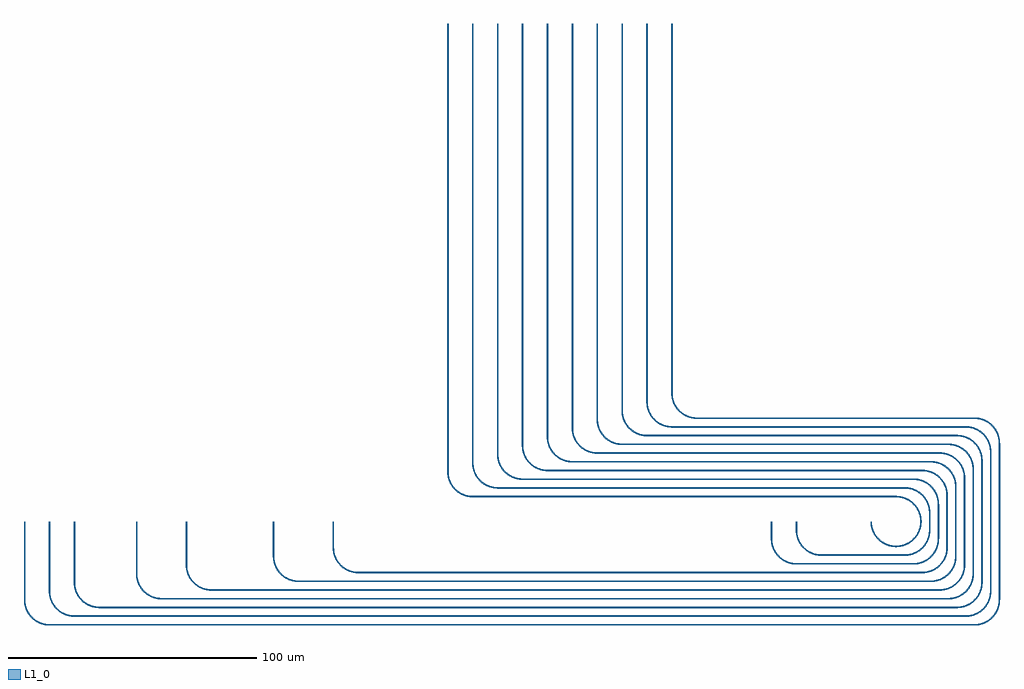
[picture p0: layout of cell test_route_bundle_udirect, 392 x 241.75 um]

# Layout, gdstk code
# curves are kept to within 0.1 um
from math import pi, radians
import gdstk
lib = gdstk.Library(unit=1e-6, precision=1e-09)
def R(c, l, rs):  # rectangles x0, y0, x1, y1
    for r in rs: c.add(gdstk.rectangle(r[:2], r[2:], *l))
def P(c, l, *ps):  # polygons
    for p in ps: c.add(gdstk.Polygon(p, *l))
L1_0 = (1, 0)

bend_circular_gdsfactory = lib.new_cell('bend_circular_gdsfactorypcomponentspbendspbend_circular_7d8e4b82')
P(bend_circular_gdsfactory, L1_0, [(0,-0.25),(0,0.25),(1.003,0.302),(1.994,0.456),(3.203,0.791),(4.133,1.169),(5.649,2.053),(6.805,3.018),(7.947,4.351),(8.721,5.641),(9.209,6.797),(9.489,7.761),(9.669,8.748),(9.75,10),(10.25,10),(10.084,8.162),(9.842,7.135),(9.495,6.139),(8.649,4.499),(8.037,3.639),(7.341,2.846),(6.566,2.129),(5.722,1.496),(4.817,0.953),(3.861,0.505),(2.865,0.158),(1.838,-0.084)])

straight_gdsfactorypcomp = lib.new_cell('straight_gdsfactorypcomponentspwaveguidespstraight_L31p_7eb9f5c9')
R(straight_gdsfactorypcomp, L1_0, [(0,-0.25,31.5,0.25)])

c_straight_gdsfactorypcomp = lib.new_cell('straight_gdsfactorypcomponentspwaveguidespstraight_L371_11458c25')
R(c_straight_gdsfactorypcomp, L1_0, [(0,-0.25,371.5,0.25)])

c_straight_gdsfactorypcomp_ = lib.new_cell('straight_gdsfactorypcomponentspwaveguidespstraight_L63__6365567f')
R(c_straight_gdsfactorypcomp_, L1_0, [(0,-0.25,63,0.25)])

c_straight_gdsfactorypcomp__ = lib.new_cell('straight_gdsfactorypcomponentspwaveguidespstraight_L111_3b387314')
R(c_straight_gdsfactorypcomp__, L1_0, [(0,-0.25,111.5,0.25)])

c_straight_gdsfactorypcomp___ = lib.new_cell('straight_gdsfactorypcomponentspwaveguidespstraight_L148_91b7ad53')
R(c_straight_gdsfactorypcomp___, L1_0, [(0,-0.25,148.5,0.25)])

c_straight_gdsfactorypcomp____ = lib.new_cell('straight_gdsfactorypcomponentspwaveguidespstraight_L28__47183211')
R(c_straight_gdsfactorypcomp____, L1_0, [(0,-0.25,28,0.25)])

c_straight_gdsfactorypcomp_____ = lib.new_cell('straight_gdsfactorypcomponentspwaveguidespstraight_L358_34f19a6a')
R(c_straight_gdsfactorypcomp_____, L1_0, [(0,-0.25,358,0.25)])

c_straight_gdsfactorypcomp______ = lib.new_cell('straight_gdsfactorypcomponentspwaveguidespstraight_L56__76370473')
R(c_straight_gdsfactorypcomp______, L1_0, [(0,-0.25,56,0.25)])

c_straight_gdsfactorypcomp_______ = lib.new_cell('straight_gdsfactorypcomponentspwaveguidespstraight_L118_f2d9635b')
R(c_straight_gdsfactorypcomp_______, L1_0, [(0,-0.25,118,0.25)])

c_straight_gdsfactorypcomp________ = lib.new_cell('straight_gdsfactorypcomponentspwaveguidespstraight_L152_2ea78617')
R(c_straight_gdsfactorypcomp________, L1_0, [(0,-0.25,152,0.25)])

c_straight_gdsfactorypcomp_________ = lib.new_cell('straight_gdsfactorypcomponentspwaveguidespstraight_L24p_44997bdd')
R(c_straight_gdsfactorypcomp_________, L1_0, [(0,-0.25,24.5,0.25)])

c_straight_gdsfactorypcomp__________ = lib.new_cell('straight_gdsfactorypcomponentspwaveguidespstraight_L344_8afcfdbf')
R(c_straight_gdsfactorypcomp__________, L1_0, [(0,-0.25,344.5,0.25)])

c_straight_gdsfactorypcomp___________ = lib.new_cell('straight_gdsfactorypcomponentspwaveguidespstraight_L49__6f62a743')
R(c_straight_gdsfactorypcomp___________, L1_0, [(0,-0.25,49,0.25)])

c_straight_gdsfactorypcomp____________ = lib.new_cell('straight_gdsfactorypcomponentspwaveguidespstraight_L124_7dbc801e')
R(c_straight_gdsfactorypcomp____________, L1_0, [(0,-0.25,124.5,0.25)])

c_straight_gdsfactorypcomp_____________ = lib.new_cell('straight_gdsfactorypcomponentspwaveguidespstraight_L155_4396909f')
R(c_straight_gdsfactorypcomp_____________, L1_0, [(0,-0.25,155.5,0.25)])

c_straight_gdsfactorypcomp______________ = lib.new_cell('straight_gdsfactorypcomponentspwaveguidespstraight_L21__2dab6504')
R(c_straight_gdsfactorypcomp______________, L1_0, [(0,-0.25,21,0.25)])

c_straight_gdsfactorypcomp_______________ = lib.new_cell('straight_gdsfactorypcomponentspwaveguidespstraight_L316_9a323de0')
R(c_straight_gdsfactorypcomp_______________, L1_0, [(0,-0.25,316,0.25)])

c_straight_gdsfactorypcomp________________ = lib.new_cell('straight_gdsfactorypcomponentspwaveguidespstraight_L42__fdc18541')
R(c_straight_gdsfactorypcomp________________, L1_0, [(0,-0.25,42,0.25)])

c_straight_gdsfactorypcomp_________________ = lib.new_cell('straight_gdsfactorypcomponentspwaveguidespstraight_L131_091afc83')
R(c_straight_gdsfactorypcomp_________________, L1_0, [(0,-0.25,131,0.25)])

c_straight_gdsfactorypcomp__________________ = lib.new_cell('straight_gdsfactorypcomponentspwaveguidespstraight_L159_61174194')
R(c_straight_gdsfactorypcomp__________________, L1_0, [(0,-0.25,159,0.25)])

c_straight_gdsfactorypcomp___________________ = lib.new_cell('straight_gdsfactorypcomponentspwaveguidespstraight_L17p_81c3d6df')
R(c_straight_gdsfactorypcomp___________________, L1_0, [(0,-0.25,17.5,0.25)])

c_straight_gdsfactorypcomp____________________ = lib.new_cell('straight_gdsfactorypcomponentspwaveguidespstraight_L292_9e9231ff')
R(c_straight_gdsfactorypcomp____________________, L1_0, [(0,-0.25,292.5,0.25)])

c_straight_gdsfactorypcomp_____________________ = lib.new_cell('straight_gdsfactorypcomponentspwaveguidespstraight_L35__eb80218d')
R(c_straight_gdsfactorypcomp_____________________, L1_0, [(0,-0.25,35,0.25)])

c_straight_gdsfactorypcomp______________________ = lib.new_cell('straight_gdsfactorypcomponentspwaveguidespstraight_L137_6ccb56a8')
R(c_straight_gdsfactorypcomp______________________, L1_0, [(0,-0.25,137.5,0.25)])

c_straight_gdsfactorypcomp_______________________ = lib.new_cell('straight_gdsfactorypcomponentspwaveguidespstraight_L162_b94ac948')
R(c_straight_gdsfactorypcomp_______________________, L1_0, [(0,-0.25,162.5,0.25)])

c_straight_gdsfactorypcomp________________________ = lib.new_cell('straight_gdsfactorypcomponentspwaveguidespstraight_L14__adde60b4')
R(c_straight_gdsfactorypcomp________________________, L1_0, [(0,-0.25,14,0.25)])

c_straight_gdsfactorypcomp_________________________ = lib.new_cell('straight_gdsfactorypcomponentspwaveguidespstraight_L254_794718a5')
R(c_straight_gdsfactorypcomp_________________________, L1_0, [(0,-0.25,254,0.25)])

c_straight_gdsfactorypcomp__________________________ = lib.new_cell('straight_gdsfactorypcomponentspwaveguidespstraight_L144_1de36d50')
R(c_straight_gdsfactorypcomp__________________________, L1_0, [(0,-0.25,144,0.25)])

c_straight_gdsfactorypcomp___________________________ = lib.new_cell('straight_gdsfactorypcomponentspwaveguidespstraight_L166_650f13cf')
R(c_straight_gdsfactorypcomp___________________________, L1_0, [(0,-0.25,166,0.25)])

c_straight_gdsfactorypcomp____________________________ = lib.new_cell('straight_gdsfactorypcomponentspwaveguidespstraight_L10p_da623fc9')
R(c_straight_gdsfactorypcomp____________________________, L1_0, [(0,-0.25,10.5,0.25)])

c_straight_gdsfactorypcomp_____________________________ = lib.new_cell('straight_gdsfactorypcomponentspwaveguidespstraight_L226_b00279ee')
R(c_straight_gdsfactorypcomp_____________________________, L1_0, [(0,-0.25,226.5,0.25)])

c_straight_gdsfactorypcomp______________________________ = lib.new_cell('straight_gdsfactorypcomponentspwaveguidespstraight_L150_b94bdf38')
R(c_straight_gdsfactorypcomp______________________________, L1_0, [(0,-0.25,150.5,0.25)])

c_straight_gdsfactorypcomp_______________________________ = lib.new_cell('straight_gdsfactorypcomponentspwaveguidespstraight_L169_df9dbdb6')
R(c_straight_gdsfactorypcomp_______________________________, L1_0, [(0,-0.25,169.5,0.25)])

c_straight_gdsfactorypcomp________________________________ = lib.new_cell('straight_gdsfactorypcomponentspwaveguidespstraight_L7_N_5487c68f')
R(c_straight_gdsfactorypcomp________________________________, L1_0, [(0,-0.25,7,0.25)])

c_straight_gdsfactorypcomp_________________________________ = lib.new_cell('straight_gdsfactorypcomponentspwaveguidespstraight_L47__a93c85d6')
R(c_straight_gdsfactorypcomp_________________________________, L1_0, [(0,-0.25,47,0.25)])

c_straight_gdsfactorypcomp__________________________________ = lib.new_cell('straight_gdsfactorypcomponentspwaveguidespstraight_L157_9ea8f998')
R(c_straight_gdsfactorypcomp__________________________________, L1_0, [(0,-0.25,157,0.25)])

c_straight_gdsfactorypcomp___________________________________ = lib.new_cell('straight_gdsfactorypcomponentspwaveguidespstraight_L173_1823e412')
R(c_straight_gdsfactorypcomp___________________________________, L1_0, [(0,-0.25,173,0.25)])

c_straight_gdsfactorypcomp____________________________________ = lib.new_cell('straight_gdsfactorypcomponentspwaveguidespstraight_L3p5_233edd08')
R(c_straight_gdsfactorypcomp____________________________________, L1_0, [(0,-0.25,3.5,0.25)])

c_straight_gdsfactorypcomp_____________________________________ = lib.new_cell('straight_gdsfactorypcomponentspwaveguidespstraight_L33p_f3b002be')
R(c_straight_gdsfactorypcomp_____________________________________, L1_0, [(0,-0.25,33.5,0.25)])

c_straight_gdsfactorypcomp______________________________________ = lib.new_cell('straight_gdsfactorypcomponentspwaveguidespstraight_L163_3778dfbd')
R(c_straight_gdsfactorypcomp______________________________________, L1_0, [(0,-0.25,163.5,0.25)])

c_straight_gdsfactorypcomp_______________________________________ = lib.new_cell('straight_gdsfactorypcomponentspwaveguidespstraight_L176_40205d92')
R(c_straight_gdsfactorypcomp_______________________________________, L1_0, [(0,-0.25,176.5,0.25)])

c_straight_gdsfactorypcomp________________________________________ = lib.new_cell('straight_gdsfactorypcomponentspwaveguidespstraight_L170_e15ef038')
R(c_straight_gdsfactorypcomp________________________________________, L1_0, [(0,-0.25,170,0.25)])

c_straight_gdsfactorypcomp_________________________________________ = lib.new_cell('straight_gdsfactorypcomponentspwaveguidespstraight_L180_0905583d')
R(c_straight_gdsfactorypcomp_________________________________________, L1_0, [(0,-0.25,180,0.25)])

test_route_bundle_udirec = lib.new_cell('test_route_bundle_udirect')
test_route_bundle_udirec.add(gdstk.Reference(bend_circular_gdsfactory, (-90,-41.5), rotation=pi, x_reflection=True))
test_route_bundle_udirec.add(gdstk.Reference(straight_gdsfactorypcomp, (-100,0), rotation=3*pi/2))
test_route_bundle_udirec.add(gdstk.Reference(bend_circular_gdsfactory, (291.5,-31.5), rotation=3*pi/2, x_reflection=True))
test_route_bundle_udirec.add(gdstk.Reference(c_straight_gdsfactorypcomp, (-90,-41.5)))
test_route_bundle_udirec.add(gdstk.Reference(bend_circular_gdsfactory, (281.5,41.5), x_reflection=True))
test_route_bundle_udirec.add(gdstk.Reference(c_straight_gdsfactorypcomp_, (291.5,-31.5), rotation=pi/2))
test_route_bundle_udirec.add(gdstk.Reference(bend_circular_gdsfactory, (160,51.5), rotation=3*pi/2))
test_route_bundle_udirec.add(gdstk.Reference(c_straight_gdsfactorypcomp__, (281.5,41.5), rotation=pi))
test_route_bundle_udirec.add(gdstk.Reference(c_straight_gdsfactorypcomp___, (160,51.5), rotation=pi/2))
test_route_bundle_udirec.add(gdstk.Reference(bend_circular_gdsfactory, (-80,-38), rotation=pi, x_reflection=True))
test_route_bundle_udirec.add(gdstk.Reference(c_straight_gdsfactorypcomp____, (-90,0), rotation=3*pi/2))
test_route_bundle_udirec.add(gdstk.Reference(bend_circular_gdsfactory, (288,-28), rotation=3*pi/2, x_reflection=True))
test_route_bundle_udirec.add(gdstk.Reference(c_straight_gdsfactorypcomp_____, (-80,-38)))
test_route_bundle_udirec.add(gdstk.Reference(bend_circular_gdsfactory, (278,38), x_reflection=True))
test_route_bundle_udirec.add(gdstk.Reference(c_straight_gdsfactorypcomp______, (288,-28), rotation=pi/2))
test_route_bundle_udirec.add(gdstk.Reference(bend_circular_gdsfactory, (150,48), rotation=3*pi/2))
test_route_bundle_udirec.add(gdstk.Reference(c_straight_gdsfactorypcomp_______, (278,38), rotation=pi))
test_route_bundle_udirec.add(gdstk.Reference(c_straight_gdsfactorypcomp________, (150,48), rotation=pi/2))
test_route_bundle_udirec.add(gdstk.Reference(bend_circular_gdsfactory, (-70,-34.5), rotation=pi, x_reflection=True))
test_route_bundle_udirec.add(gdstk.Reference(c_straight_gdsfactorypcomp_________, (-80,0), rotation=3*pi/2))
test_route_bundle_udirec.add(gdstk.Reference(bend_circular_gdsfactory, (284.5,-24.5), rotation=3*pi/2, x_reflection=True))
test_route_bundle_udirec.add(gdstk.Reference(c_straight_gdsfactorypcomp__________, (-70,-34.5)))
test_route_bundle_udirec.add(gdstk.Reference(bend_circular_gdsfactory, (274.5,34.5), x_reflection=True))
test_route_bundle_udirec.add(gdstk.Reference(c_straight_gdsfactorypcomp___________, (284.5,-24.5), rotation=pi/2))
test_route_bundle_udirec.add(gdstk.Reference(bend_circular_gdsfactory, (140,44.5), rotation=3*pi/2))
test_route_bundle_udirec.add(gdstk.Reference(c_straight_gdsfactorypcomp____________, (274.5,34.5), rotation=pi))
test_route_bundle_udirec.add(gdstk.Reference(c_straight_gdsfactorypcomp_____________, (140,44.5), rotation=pi/2))
test_route_bundle_udirec.add(gdstk.Reference(bend_circular_gdsfactory, (-45,-31), rotation=pi, x_reflection=True))
test_route_bundle_udirec.add(gdstk.Reference(c_straight_gdsfactorypcomp______________, (-55,0), rotation=3*pi/2))
test_route_bundle_udirec.add(gdstk.Reference(bend_circular_gdsfactory, (281,-21), rotation=3*pi/2, x_reflection=True))
test_route_bundle_udirec.add(gdstk.Reference(c_straight_gdsfactorypcomp_______________, (-45,-31)))
test_route_bundle_udirec.add(gdstk.Reference(bend_circular_gdsfactory, (271,31), x_reflection=True))
test_route_bundle_udirec.add(gdstk.Reference(c_straight_gdsfactorypcomp________________, (281,-21), rotation=pi/2))
test_route_bundle_udirec.add(gdstk.Reference(bend_circular_gdsfactory, (130,41), rotation=3*pi/2))
test_route_bundle_udirec.add(gdstk.Reference(c_straight_gdsfactorypcomp_________________, (271,31), rotation=pi))
test_route_bundle_udirec.add(gdstk.Reference(c_straight_gdsfactorypcomp__________________, (130,41), rotation=pi/2))
test_route_bundle_udirec.add(gdstk.Reference(bend_circular_gdsfactory, (-25,-27.5), rotation=pi, x_reflection=True))
test_route_bundle_udirec.add(gdstk.Reference(c_straight_gdsfactorypcomp___________________, (-35,0), rotation=3*pi/2))
test_route_bundle_udirec.add(gdstk.Reference(bend_circular_gdsfactory, (277.5,-17.5), rotation=3*pi/2, x_reflection=True))
test_route_bundle_udirec.add(gdstk.Reference(c_straight_gdsfactorypcomp____________________, (-25,-27.5)))
test_route_bundle_udirec.add(gdstk.Reference(bend_circular_gdsfactory, (267.5,27.5), x_reflection=True))
test_route_bundle_udirec.add(gdstk.Reference(c_straight_gdsfactorypcomp_____________________, (277.5,-17.5), rotation=pi/2))
test_route_bundle_udirec.add(gdstk.Reference(bend_circular_gdsfactory, (120,37.5), rotation=3*pi/2))
test_route_bundle_udirec.add(gdstk.Reference(c_straight_gdsfactorypcomp______________________, (267.5,27.5), rotation=pi))
test_route_bundle_udirec.add(gdstk.Reference(c_straight_gdsfactorypcomp_______________________, (120,37.5), rotation=pi/2))
test_route_bundle_udirec.add(gdstk.Reference(bend_circular_gdsfactory, (10,-24), rotation=pi, x_reflection=True))
test_route_bundle_udirec.add(gdstk.Reference(c_straight_gdsfactorypcomp________________________, (0,0), rotation=3*pi/2))
test_route_bundle_udirec.add(gdstk.Reference(bend_circular_gdsfactory, (274,-14), rotation=3*pi/2, x_reflection=True))
test_route_bundle_udirec.add(gdstk.Reference(c_straight_gdsfactorypcomp_________________________, (10,-24)))
test_route_bundle_udirec.add(gdstk.Reference(bend_circular_gdsfactory, (264,24), x_reflection=True))
test_route_bundle_udirec.add(gdstk.Reference(c_straight_gdsfactorypcomp____, (274,-14), rotation=pi/2))
test_route_bundle_udirec.add(gdstk.Reference(bend_circular_gdsfactory, (110,34), rotation=3*pi/2))
test_route_bundle_udirec.add(gdstk.Reference(c_straight_gdsfactorypcomp__________________________, (264,24), rotation=pi))
test_route_bundle_udirec.add(gdstk.Reference(c_straight_gdsfactorypcomp___________________________, (110,34), rotation=pi/2))
test_route_bundle_udirec.add(gdstk.Reference(bend_circular_gdsfactory, (34,-20.5), rotation=pi, x_reflection=True))
test_route_bundle_udirec.add(gdstk.Reference(c_straight_gdsfactorypcomp____________________________, (24,0), rotation=3*pi/2))
test_route_bundle_udirec.add(gdstk.Reference(bend_circular_gdsfactory, (270.5,-10.5), rotation=3*pi/2, x_reflection=True))
test_route_bundle_udirec.add(gdstk.Reference(c_straight_gdsfactorypcomp_____________________________, (34,-20.5)))
test_route_bundle_udirec.add(gdstk.Reference(bend_circular_gdsfactory, (260.5,20.5), x_reflection=True))
test_route_bundle_udirec.add(gdstk.Reference(c_straight_gdsfactorypcomp______________, (270.5,-10.5), rotation=pi/2))
test_route_bundle_udirec.add(gdstk.Reference(bend_circular_gdsfactory, (100,30.5), rotation=3*pi/2))
test_route_bundle_udirec.add(gdstk.Reference(c_straight_gdsfactorypcomp______________________________, (260.5,20.5), rotation=pi))
test_route_bundle_udirec.add(gdstk.Reference(c_straight_gdsfactorypcomp_______________________________, (100,30.5), rotation=pi/2))
test_route_bundle_udirec.add(gdstk.Reference(bend_circular_gdsfactory, (210,-17), rotation=pi, x_reflection=True))
test_route_bundle_udirec.add(gdstk.Reference(c_straight_gdsfactorypcomp________________________________, (200,0), rotation=3*pi/2))
test_route_bundle_udirec.add(gdstk.Reference(bend_circular_gdsfactory, (267,-7), rotation=3*pi/2, x_reflection=True))
test_route_bundle_udirec.add(gdstk.Reference(c_straight_gdsfactorypcomp_________________________________, (210,-17)))
test_route_bundle_udirec.add(gdstk.Reference(bend_circular_gdsfactory, (257,17), x_reflection=True))
test_route_bundle_udirec.add(gdstk.Reference(c_straight_gdsfactorypcomp________________________, (267,-7), rotation=pi/2))
test_route_bundle_udirec.add(gdstk.Reference(bend_circular_gdsfactory, (90,27), rotation=3*pi/2))
test_route_bundle_udirec.add(gdstk.Reference(c_straight_gdsfactorypcomp__________________________________, (257,17), rotation=pi))
test_route_bundle_udirec.add(gdstk.Reference(c_straight_gdsfactorypcomp___________________________________, (90,27), rotation=pi/2))
test_route_bundle_udirec.add(gdstk.Reference(bend_circular_gdsfactory, (220,-13.5), rotation=pi, x_reflection=True))
test_route_bundle_udirec.add(gdstk.Reference(c_straight_gdsfactorypcomp____________________________________, (210,0), rotation=3*pi/2))
test_route_bundle_udirec.add(gdstk.Reference(bend_circular_gdsfactory, (263.5,-3.5), rotation=3*pi/2, x_reflection=True))
test_route_bundle_udirec.add(gdstk.Reference(c_straight_gdsfactorypcomp_____________________________________, (220,-13.5)))
test_route_bundle_udirec.add(gdstk.Reference(bend_circular_gdsfactory, (253.5,13.5), x_reflection=True))
test_route_bundle_udirec.add(gdstk.Reference(c_straight_gdsfactorypcomp________________________________, (263.5,-3.5), rotation=pi/2))
test_route_bundle_udirec.add(gdstk.Reference(bend_circular_gdsfactory, (80,23.5), rotation=3*pi/2))
test_route_bundle_udirec.add(gdstk.Reference(c_straight_gdsfactorypcomp______________________________________, (253.5,13.5), rotation=pi))
test_route_bundle_udirec.add(gdstk.Reference(c_straight_gdsfactorypcomp_______________________________________, (80,23.5), rotation=pi/2))
test_route_bundle_udirec.add(gdstk.Reference(bend_circular_gdsfactory, (250,-10), rotation=pi, x_reflection=True))
test_route_bundle_udirec.add(gdstk.Reference(bend_circular_gdsfactory, (260,0), rotation=3*pi/2, x_reflection=True))
test_route_bundle_udirec.add(gdstk.Reference(bend_circular_gdsfactory, (250,10), x_reflection=True))
test_route_bundle_udirec.add(gdstk.Reference(bend_circular_gdsfactory, (70,20), rotation=3*pi/2))
test_route_bundle_udirec.add(gdstk.Reference(c_straight_gdsfactorypcomp________________________________________, (250,10), rotation=pi))
test_route_bundle_udirec.add(gdstk.Reference(c_straight_gdsfactorypcomp_________________________________________, (70,20), rotation=pi/2))

lib.write_gds('test_route_bundle_udirect.gds')
